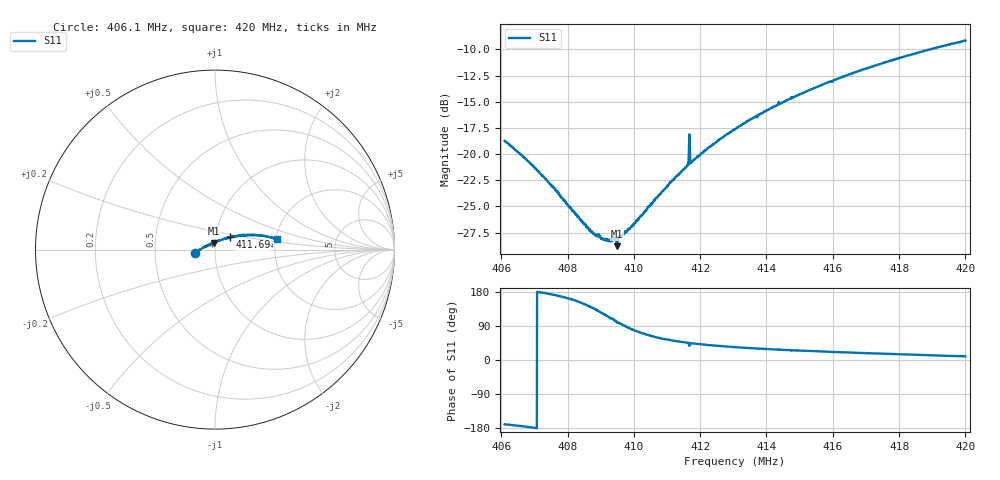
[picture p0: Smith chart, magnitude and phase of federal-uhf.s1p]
! Calibrated averaged scanner-service zoom
# Hz S RI R 50
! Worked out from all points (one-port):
!   2001 points, 406.1 MHz to 420 MHz, reference 50 ohm
!   lowest |S11| = -28.8 dB at 409.49 MHz (marker M1), VSWR 1.08, Z = 49.3 + j3.55 ohm
!   |S11| at or under -10 dB: start of sweep to 418.95 MHz
!   S11 on the Smith chart (normalised r, x): 406.1 MHz: 0.80, -0.03; 411.69 MHz: 1.17, +0.16; 420 MHz: 2.02, +0.27
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4.061e8  -0.1137 -0.0207
4.06246e8  -0.1095 -0.0173
4.069062e8  -0.0892 -0.00323
4.076082e8  -0.0677 0.00993
4.078375e8  -0.06 0.0138
4.084213e8  -0.0416 0.0236
4.088036e8  -0.0295 0.0289
4.090954e8  -0.0201 0.0336
4.092762e8  -0.0142 0.0361
4.093874e8  -0.0118 0.0379
4.094916e8  -0.00543 0.0359
4.09575e8  -0.00435 0.0404
4.09985e8  0.00841 0.045
4.106662e8  0.0306 0.0536
4.113125e8  0.0515 0.0602
4.115766e8  0.0603 0.0625
4.116252e8  0.0624 0.0633
4.116878e8  0.0834 0.0692
4.117295e8  0.0651 0.0639
4.117573e8  0.0657 0.0641
4.117782e8  0.0669 0.0643
4.12223e8  0.0819 0.0673
4.1305e8  0.1093 0.0733
4.139604e8  0.1397 0.0781
4.147875e8  0.1677 0.0805
4.16525e8  0.2271 0.081
4.182625e8  0.2863 0.0735
4.2e8  0.3433 0.0577
